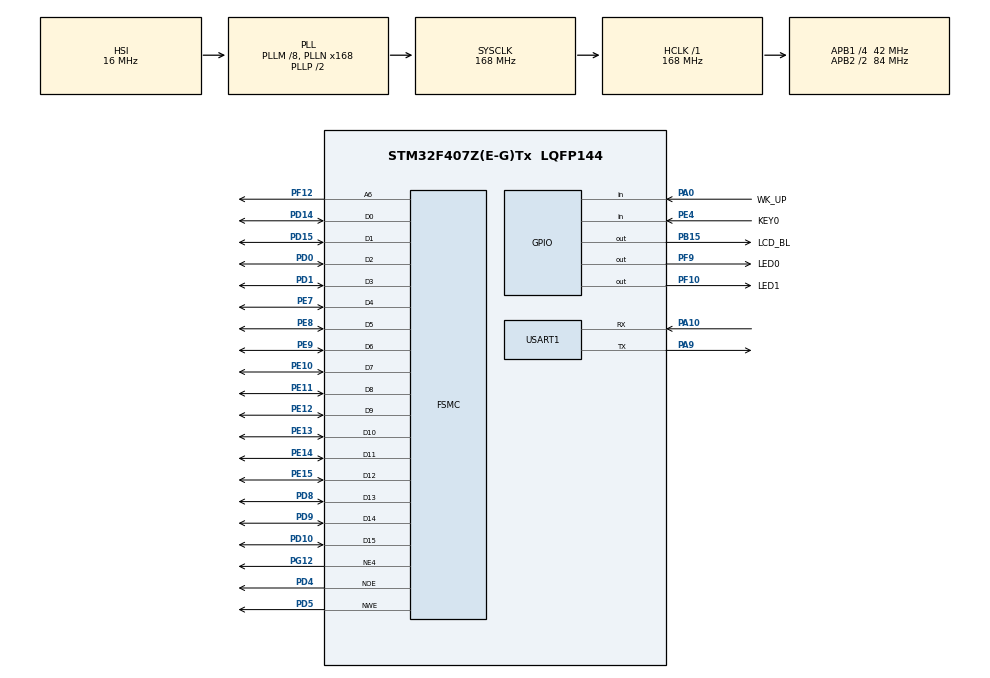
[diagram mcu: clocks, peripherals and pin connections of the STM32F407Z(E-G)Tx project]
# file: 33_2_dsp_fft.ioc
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FSMC.AddressSetupTime1=15
FSMC.BusTurnAroundDuration1=0
FSMC.DataSetupTime1=60
FSMC.ExtendedAddressSetupTime1=9
FSMC.ExtendedBusTurnAroundDuration1=0
FSMC.ExtendedDataSetupTime1=9
FSMC.ExtendedMode1=FSMC_EXTENDED_MODE_ENABLE
Mcu.Family=STM32F4
Mcu.Name=STM32F407Z(E-G)Tx
Mcu.Package=LQFP144
NVIC.PriorityGroup=NVIC_PRIORITYGROUP_2
NVIC.TIM6_DAC_IRQn=true\:2\:1\:true\:false\:true\:true\:true\:true
NVIC.USART1_IRQn=true\:2\:2\:true\:false\:true\:true\:true\:true
PA0-WKUP.GPIO_Label=WK_UP
PA0-WKUP.GPIO_PuPd=GPIO_PULLDOWN
PA0-WKUP.Signal=GPIO_Input
PA10.GPIO_PuPd=GPIO_PULLUP
PA10.Mode=Asynchronous
PA10.Signal=USART1_RX
PA13.Mode=Serial_Wire
PA13.Signal=SYS_JTMS-SWDIO
PA14.Mode=Serial_Wire
PA14.Signal=SYS_JTCK-SWCLK
PA9.GPIO_PuPd=GPIO_PULLUP
PA9.Mode=Asynchronous
PA9.Signal=USART1_TX
PB15.GPIO_Label=LCD_BL
PB15.GPIO_PuPd=GPIO_PULLUP
PB15.GPIO_Speed=GPIO_SPEED_FREQ_VERY_HIGH
PB15.PinState=GPIO_PIN_SET
PB15.Signal=GPIO_Output
PC14-OSC32_IN.Mode=LSE-External-Oscillator
PC14-OSC32_IN.Signal=RCC_OSC32_IN
PC15-OSC32_OUT.Mode=LSE-External-Oscillator
PC15-OSC32_OUT.Signal=RCC_OSC32_OUT
PD0.Signal=FSMC_D2_DA2
PD1.Signal=FSMC_D3_DA3
PD10.Signal=FSMC_D15_DA15
PD14.Signal=FSMC_D0_DA0
PD15.Signal=FSMC_D1_DA1
PD4.Signal=FSMC_NOE
PD5.Signal=FSMC_NWE
PD8.Signal=FSMC_D13_DA13
PD9.Signal=FSMC_D14_DA14
PE10.Signal=FSMC_D7_DA7
PE11.Signal=FSMC_D8_DA8
PE12.Signal=FSMC_D9_DA9
PE13.Signal=FSMC_D10_DA10
PE14.Signal=FSMC_D11_DA11
PE15.Signal=FSMC_D12_DA12
PE4.GPIO_Label=KEY0
PE4.GPIO_PuPd=GPIO_PULLDOWN
PE4.Signal=GPIO_Input
PE7.Signal=FSMC_D4_DA4
PE8.Signal=FSMC_D5_DA5
PE9.Signal=FSMC_D6_DA6
PF10.GPIO_Label=LED1
PF10.GPIO_PuPd=GPIO_PULLDOWN
PF10.GPIO_Speed=GPIO_SPEED_FREQ_VERY_HIGH
PF10.PinState=GPIO_PIN_SET
PF10.Signal=GPIO_Output
PF12.Signal=FSMC_A6
PF9.GPIO_Label=LED0
PF9.GPIO_PuPd=GPIO_PULLDOWN
PF9.GPIO_Speed=GPIO_SPEED_FREQ_VERY_HIGH
PF9.PinState=GPIO_PIN_SET
PF9.Signal=GPIO_Output
PG12.Mode=NorPsramChipSelect4_1
PG12.Signal=FSMC_NE4
PH0-OSC_IN.Mode=HSE-External-Oscillator
PH0-OSC_IN.Signal=RCC_OSC_IN
PH1-OSC_OUT.Mode=HSE-External-Oscillator
PH1-OSC_OUT.Signal=RCC_OSC_OUT
ProjectManager.HeapSize=0x200
ProjectManager.StackSize=0x400
ProjectManager.TargetToolchain=STM32CubeIDE
RCC.48MHZClocksFreq_Value=84000000
RCC.AHBFreq_Value=168000000
RCC.APB1CLKDivider=RCC_HCLK_DIV4
RCC.APB1Freq_Value=42000000
RCC.APB1TimFreq_Value=84000000
RCC.APB2CLKDivider=RCC_HCLK_DIV2
RCC.APB2Freq_Value=84000000
RCC.APB2TimFreq_Value=168000000
RCC.CortexFreq_Value=168000000
RCC.HCLKFreq_Value=168000000
RCC.HSE_VALUE=25000000
RCC.HSI_VALUE=16000000
RCC.PLLM=8
RCC.PLLN=168
RCC.SYSCLKFreq_VALUE=168000000
RCC.SYSCLKSource=RCC_SYSCLKSOURCE_PLLCLK
RCC.VCOOutputFreq_Value=336000000
SH.FSMC_A6.0=FSMC_A6,A6_1
SH.FSMC_D0_DA0.0=FSMC_D0,16b-d1
SH.FSMC_D10_DA10.0=FSMC_D10,16b-d1
SH.FSMC_D11_DA11.0=FSMC_D11,16b-d1
SH.FSMC_D12_DA12.0=FSMC_D12,16b-d1
SH.FSMC_D13_DA13.0=FSMC_D13,16b-d1
SH.FSMC_D14_DA14.0=FSMC_D14,16b-d1
SH.FSMC_D15_DA15.0=FSMC_D15,16b-d1
SH.FSMC_D1_DA1.0=FSMC_D1,16b-d1
SH.FSMC_D2_DA2.0=FSMC_D2,16b-d1
SH.FSMC_D3_DA3.0=FSMC_D3,16b-d1
SH.FSMC_D4_DA4.0=FSMC_D4,16b-d1
SH.FSMC_D5_DA5.0=FSMC_D5,16b-d1
SH.FSMC_D6_DA6.0=FSMC_D6,16b-d1
SH.FSMC_D7_DA7.0=FSMC_D7,16b-d1
SH.FSMC_D8_DA8.0=FSMC_D8,16b-d1
SH.FSMC_D9_DA9.0=FSMC_D9,16b-d1
SH.FSMC_NOE.0=FSMC_NOE,Lcd1
SH.FSMC_NWE.0=FSMC_NWE,Lcd1
TIM6.AutoReloadPreload=TIM_AUTORELOAD_PRELOAD_ENABLE
TIM6.Prescaler=8400 - 1
USART1.VirtualMode=VM_ASYNC
VP_TIM6_VS_ClockSourceINT.Mode=Enable_Timer
board=custom

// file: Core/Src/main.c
/* USER CODE BEGIN Header */
/**
 ****************************************************************************************************
 * @file        main.c
 * @author      ALIENTEK
 * @brief       DSP_FFT code
 * @license     Copyright (C) 2020-2032, ALIENTEK
 ****************************************************************************************************
 * @attention
 *
 * platform     : ALIENTEK M144-STM32F407 board
 * website      : https://www.alientek.com
 * forum        : http://www.openedv.com/forum.php
 *
 * change logs  :
 * version    data    notes
 * V1.0     20240410  the first version
 *
 ****************************************************************************************************
 */
/* USER CODE END Header */
#include "main.h"
#include "tim.h"
#include "usart.h"
#include "gpio.h"
#include "fsmc.h"

/* USER CODE BEGIN Includes */
#include "../../BSP/LED/led.h"
#include "../../BSP/KEY/key.h"
#include "../../BSP/LCD/lcd.h"
#include "../../SYSTEM/delay/delay.h"
#include "arm_math.h"
/* USER CODE END Includes */

void SystemClock_Config(void);

/* USER CODE BEGIN 0 */

/* Define the size of FFT data */
#define FFT_LENGTH  1024

float fft_inputbuf[FFT_LENGTH * 2];
float fft_outputbuf[FFT_LENGTH];

uint8_t g_timeout;

/* USER CODE END 0 */

int main(void)
{
  /* USER CODE BEGIN 1 */
	  float time;
	  char buf[50];
	  arm_cfft_radix4_instance_f32 scfft;
	  uint8_t key, t = 0;
	  uint16_t i;

  /* USER CODE END 1 */

  /* MCU Configuration--------------------------------------------------------*/

  /* Reset of all peripherals, Initializes the Flash interface and the Systick. */
  HAL_Init();

  /* Configure the system clock */
  SystemClock_Config();

  /* USER CODE BEGIN SysInit */
  delay_init(168);
  /* USER CODE END SysInit */

  /* Initialize all configured peripherals */
  MX_GPIO_Init();
  MX_USART1_UART_Init();
  MX_FSMC_Init();
  MX_TIM6_Init();
  /* USER CODE BEGIN 2 */

  lcd_init();
  lcd_show_string(30, 50, 200, 16, 16, "STM32", RED);
  lcd_show_string(30, 70, 200, 16, 16, "DSP FFT TEST", RED);
  lcd_show_string(30, 90, 200, 16, 16, "ATOM@ALIENTEK", RED);

  lcd_show_string(30, 110, 200, 16, 16, "WKUP:Run FFT", RED);
  lcd_show_string(30, 130, 200, 16, 16, "FFT runtime:", RED);

  /* FFT calculation initialization */
  arm_cfft_radix4_init_f32(&scfft, FFT_LENGTH, 0, 1);

  /* USER CODE END 2 */

  /* Infinite loop */
  while (1)
  {
	    key = key_scan(0);

	    if (key == WKUP_PRES)
	    {
	      for (i = 0; i < FFT_LENGTH; i++)	/* Generating signal sequences */
	      {
	        fft_inputbuf[2 * i] = 100 +
	                  10 * arm_sin_f32(2 * PI * i / FFT_LENGTH) +
	                  30 * arm_sin_f32(2 * PI * i * 4 / FFT_LENGTH) +
	                  50 * arm_cos_f32(2 * PI * i * 8 / FFT_LENGTH);    /* Generate the real part of the input signal */
	        fft_inputbuf[2 * i + 1] = 0;    /* The imaginary part is all 0 */
	      }

	      TIM6->CNT = 0;       /* Resets the counter value of the TIM6 timer */
	      g_timeout = 0;

	      arm_cfft_radix4_f32(&scfft, fft_inputbuf);                      /* FFT calculation (radix 4) */

	      time = TIM6->CNT + (uint32_t)g_timeout * 65536;        	        /* Time taken to calculate */
	      sprintf((char *)buf, "%0.3fms\r\n", time / 10);
	      lcd_show_string(126, 130, 200, 16, 16, buf, BLUE);              /* Displaying the running time */

	      arm_cmplx_mag_f32(fft_inputbuf, fft_outputbuf, FFT_LENGTH);     /* The magnitude is obtained modulo the complex number of the operation result */

	      printf("\r\n%d point FFT runtime:%0.3fms\r\n", FFT_LENGTH, time / 1000);
	      printf("FFT Result:\r\n");

	      for (i = 0; i < FFT_LENGTH; i++)
	      {
	        printf("fft_outputbuf[%d]:%f\r\n", i, fft_outputbuf[i]);
	      }
	    }
	    else
	    {
	      HAL_Delay(10);
	    }

	    t++;

	    if ((t % 20) == 0)
	    {
	      LED0_TOGGLE();         /* flashing LED0 indicates that the system is running */
	    }

  }
}

void SystemClock_Config(void)
{
  RCC_OscInitTypeDef RCC_OscInitStruct = {0};
  RCC_ClkInitTypeDef RCC_ClkInitStruct = {0};

  /** Configure the main internal regulator output voltage
  */
  __HAL_RCC_PWR_CLK_ENABLE();
  __HAL_PWR_VOLTAGESCALING_CONFIG(PWR_REGULATOR_VOLTAGE_SCALE1);

  /** Initializes the RCC Oscillators according to the specified parameters
  * in the RCC_OscInitTypeDef structure.
  */
  RCC_OscInitStruct.OscillatorType = RCC_OSCILLATORTYPE_HSI;
  RCC_OscInitStruct.HSIState = RCC_HSI_ON;
  RCC_OscInitStruct.HSICalibrationValue = RCC_HSICALIBRATION_DEFAULT;
  RCC_OscInitStruct.PLL.PLLState = RCC_PLL_ON;
  RCC_OscInitStruct.PLL.PLLSource = RCC_PLLSOURCE_HSI;
  RCC_OscInitStruct.PLL.PLLM = 8;
  RCC_OscInitStruct.PLL.PLLN = 168;
  RCC_OscInitStruct.PLL.PLLP = RCC_PLLP_DIV2;
  RCC_OscInitStruct.PLL.PLLQ = 4;
  if (HAL_RCC_OscConfig(&RCC_OscInitStruct) != HAL_OK)
  {
    Error_Handler();
  }

  /** Initializes the CPU, AHB and APB buses clocks
  */
  RCC_ClkInitStruct.ClockType = RCC_CLOCKTYPE_HCLK|RCC_CLOCKTYPE_SYSCLK
                              |RCC_CLOCKTYPE_PCLK1|RCC_CLOCKTYPE_PCLK2;
  RCC_ClkInitStruct.SYSCLKSource = RCC_SYSCLKSOURCE_PLLCLK;
  RCC_ClkInitStruct.AHBCLKDivider = RCC_SYSCLK_DIV1;
  RCC_ClkInitStruct.APB1CLKDivider = RCC_HCLK_DIV4;
  RCC_ClkInitStruct.APB2CLKDivider = RCC_HCLK_DIV2;

  if (HAL_RCC_ClockConfig(&RCC_ClkInitStruct, FLASH_LATENCY_5) != HAL_OK)
  {
    Error_Handler();
  }
}

void Error_Handler(void)
{
  __disable_irq();
  while (1)
  {
  }
}
